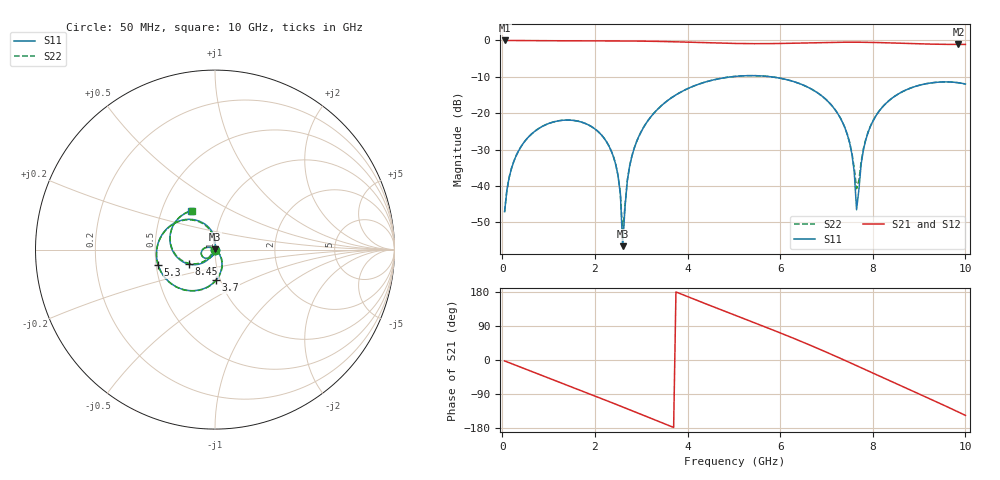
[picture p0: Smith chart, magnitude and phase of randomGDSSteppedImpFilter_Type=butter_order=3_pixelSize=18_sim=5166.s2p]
! freq	dB(S11)	phase(S11)	dB(S12)	phase(S12)
!  dB(S21)	phase(S21)	dB(S22)	phase(S22)
!S-par simulation data
#  GHz  S  DB  R 50
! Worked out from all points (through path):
!   200 points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, 50 MHz to 10 GHz, reference 50 ohm
!   highest |S21| = -0.01 dB at 50 MHz (marker M1); lowest = -1.1 dB at 9.85 GHz (marker M2)
!   group delay of S21, straight-line fit = 139 ps
!   lowest |S11| = -56.5 dB at 2.6 GHz (marker M3), VSWR 1.00, Z = 49.9 + j0.125 ohm
!   |S11| at or under -10 dB: start of sweep to 4.94 GHz; 5.808 GHz to end of sweep
!   |S22| runs from -53.0 to -9.7 dB; largest |S21 - S12| = 0
!   S11 on the Smith chart (normalised r, x): 50 MHz: 1.00, -0.01; 3.7 GHz: 0.95, -0.33; 5.3 GHz: 0.51, -0.10; 8.45 GHz: 0.74, -0.12; 10 GHz: 0.70, +0.32
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0.05  -47.05 -89.1  -0.01 -2.4  -0.01 -2.4  -47.05 -89.1
0.2  -35.10 -99.0  -0.02 -9.6  -0.02 -9.6  -35.10 -99.1
0.55  -26.75 -116.5  -0.04 -26.2  -0.04 -26.2  -26.75 -116.6
1.75  -22.62 -174.2  -0.12 -83.1  -0.12 -83.1  -22.62 -174.6
2.4  -31.95 153.9  -0.13 -114.2  -0.13 -114.2  -31.94 151.7
2.55  -42.24 144.5  -0.14 -121.5  -0.14 -121.5  -42.09 136.2
2.6  -56.54 122.6  -0.14 -124.0  -0.14 -124.0  -53.03 90.3
2.7  -38.52 -37.6  -0.15 -128.8  -0.15 -128.8  -38.43 -31.5
2.8  -31.73 -43.6  -0.16 -133.7  -0.16 -133.7  -31.71 -40.6
3.4  -18.34 -73.7  -0.27 -163.2  -0.27 -163.2  -18.33 -72.8
3.7  -15.36 -88.4  -0.36 -178.0  -0.36 -178.0  -15.36 -87.7
5.05  -9.85 -153.0  -0.83 117.0  -0.83 117.0  -9.85 -152.4
5.3  -9.68 -164.7  -0.87 105.2  -0.87 105.2  -9.68 -164.1
6.7  -13.54 127.0  -0.64 36.4  -0.64 36.4  -13.54 128.3
7.4  -24.07 91.3  -0.49 -1.1  -0.49 -1.1  -24.01 96.0
7.55  -31.28 86.4  -0.48 -9.3  -0.48 -9.3  -30.95 97.1
7.65  -46.52 121.2  -0.49 -14.9  -0.49 -14.9  -40.72 143.6
7.85  -27.26 -120.2  -0.51 -26.0  -0.51 -26.0  -27.12 -127.4
8.35  -16.54 -145.6  -0.66 -53.8  -0.66 -53.8  -16.53 -147.8
8.45  -15.55 -151.1  -0.70 -59.3  -0.70 -59.3  -15.54 -153.0
9.85  -11.63 130.6  -1.10 -137.4  -1.10 -137.4  -11.63 129.1
10  -11.98 121.8  -1.09 -146.2  -1.09 -146.2  -11.98 120.2
